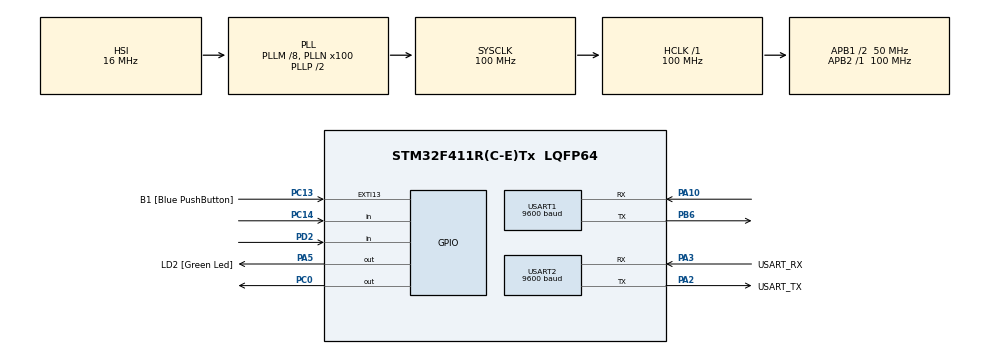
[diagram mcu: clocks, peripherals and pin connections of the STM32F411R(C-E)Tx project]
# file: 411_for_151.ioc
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Mcu.Family=STM32F4
Mcu.Name=STM32F411R(C-E)Tx
Mcu.Package=LQFP64
NVIC.EXTI15_10_IRQn=true\:0\:0\:false\:false\:true\:true\:true
NVIC.PriorityGroup=NVIC_PRIORITYGROUP_0
NVIC.USART1_IRQn=true\:0\:0\:false\:false\:true\:true\:true
PA10.Mode=Asynchronous
PA10.Signal=USART1_RX
PA13.GPIO_Label=TMS
PA13.Mode=Serial_Wire
PA13.Signal=SYS_JTMS-SWDIO
PA14.GPIO_Label=TCK
PA14.Mode=Serial_Wire
PA14.Signal=SYS_JTCK-SWCLK
PA2.GPIO_Label=USART_TX
PA2.GPIO_PuPd=GPIO_PULLUP
PA2.Mode=Asynchronous
PA2.Signal=USART2_TX
PA3.GPIO_Label=USART_RX
PA3.Mode=Asynchronous
PA3.Signal=USART2_RX
PA5.GPIO_Label=LD2 [Green Led]
PA5.Signal=GPIO_Output
PB3.GPIO_Label=SWO
PB3.Signal=SYS_JTDO-SWO
PB6.Mode=Asynchronous
PB6.Signal=USART1_TX
PC0.Signal=GPIO_Output
PC13-ANTI_TAMP.GPIO_Label=B1 [Blue PushButton]
PC13-ANTI_TAMP.GPIO_ModeDefaultEXTI=GPIO_MODE_IT_FALLING
PC13-ANTI_TAMP.GPIO_PuPd=GPIO_PULLDOWN
PC13-ANTI_TAMP.Signal=GPXTI13
PC14-OSC32_IN.GPIO_PuPd=GPIO_PULLDOWN
PC14-OSC32_IN.Signal=GPIO_Input
PC15-OSC32_OUT.Signal=RCC_OSC32_OUT
PD2.GPIO_PuPd=GPIO_PULLDOWN
PD2.Signal=GPIO_Input
PH0\ -\ OSC_IN.Signal=RCC_OSC_IN
PH1\ -\ OSC_OUT.Signal=RCC_OSC_OUT
ProjectManager.HeapSize=0x200
ProjectManager.StackSize=0x400
ProjectManager.TargetToolchain=STM32CubeIDE
RCC.48MHZClocksFreq_Value=50000000
RCC.AHBFreq_Value=100000000
RCC.APB1CLKDivider=RCC_HCLK_DIV2
RCC.APB1Freq_Value=50000000
RCC.APB1TimFreq_Value=100000000
RCC.APB2Freq_Value=100000000
RCC.APB2TimFreq_Value=100000000
RCC.CortexFreq_Value=100000000
RCC.FLatency-AdvancedSettings=FLASH_LATENCY_3
RCC.HCLKFreq_Value=100000000
RCC.HSE_VALUE=8000000
RCC.HSI_VALUE=16000000
RCC.LSE_VALUE=32768
RCC.PLLM=8
RCC.PLLN=100
RCC.SYSCLKFreq_VALUE=100000000
RCC.SYSCLKSource=RCC_SYSCLKSOURCE_PLLCLK
RCC.VCOOutputFreq_Value=200000000
USART1.BaudRate=9600
USART1.VirtualMode=VM_ASYNC
USART2.BaudRate=9600
USART2.VirtualMode=VM_ASYNC
board=NUCLEO-F411RE

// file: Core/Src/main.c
/* USER CODE BEGIN Header */
/**
 ******************************************************************************
 * @file           : main.c
 * @brief          : Main program body
 ******************************************************************************
 * @attention
 *
 * <h2><center>&copy; Copyright (c) 2020 STMicroelectronics.
 * All rights reserved.</center></h2>
 *
 * This software component is licensed by ST under BSD 3-Clause license,
 * the "License"; You may not use this file except in compliance with the
 * License. You may obtain a copy of the License at:
 *                        opensource.org/licenses/BSD-3-Clause
 *
 ******************************************************************************
 */
/* USER CODE END Header */

#include "main.h"

/* USER CODE BEGIN PD */
#define LED_PORT 		GPIOA         //GPIOC
#define LED_PIN 		GPIO_PIN_5    //GPIO_PIN_1

#define BTN_IRQ_PORT    GPIOC
#define BTN_IRQ_PIN     GPIO_PIN_13

#define BTN_USER_PORT	 GPIOD
#define BTN_USER_PIN 	 GPIO_PIN_2

#define PIN_GLOBAL_POWER_PORT  GPIOC
#define PIN_GLOBAL_POWER_PIN   GPIO_PIN_0

#define size_rx_uart  12

typedef struct
{
	uint32_t command;
	uint32_t length;
	int8_t* buff;
}tcp_packet_t;

typedef struct
{
	uint32_t hz;
	float current_mA;
	float power_W;
	float bus_voltage_V;
	float shunt_voltage_V;
	int16_t current_reg;
	uint16_t config;
	uint16_t calib;
	uint16_t die_id;
	uint8_t addr;
	uint8_t rsrvd_byte;
}INA_230;

#define SLAVE_SUCCESS_ANSWER        0
#define SLAVE_BAD_ANSWER           -1

#define CMD_ANSWER            1
#define CMD_GET_INAINFO       2
#define CMD_SHUTDOWN        3

/* USER CODE END PD */

UART_HandleTypeDef huart1;
UART_HandleTypeDef huart2;

void SystemClock_Config(void);
static void MX_GPIO_Init(void);
static void MX_USART2_UART_Init(void);
static void MX_USART1_UART_Init(void);

/* USER CODE BEGIN 0 */
void get_sleep();
void blink(uint8_t, uint32_t);
void HAL_UART_RxCpltCallback(UART_HandleTypeDef *);
void HAL_UART_TxCpltCallback(UART_HandleTypeDef *);
void send_message (tcp_packet_t*);
void get_data_ina();

int8_t flag_btn_irq = 0;
int8_t flag_btn_user_pressed = 0;
int8_t flag_get_UART=0;
int8_t flag_need_sleep = 1;

int8_t flag_uart_getBlink=0;

//int8_t MSV[sizeMSV]={10, };
//
//int8_t counters = 0;

float current_mA = 0.0f;
int16_t current_reg = 0;
uint32_t hz = 0;
uint8_t addr = 0;
float power_W = 0.0f;
float bus_voltage_V = 0.0f;
float shunt_voltage_V = 0.0f;
uint16_t config=0;
uint16_t calib=0;
uint16_t die_id=0;

uint8_t rx_uart[12]={0, };
//uint8_t tx_uart[10]={10, 11, 12, 13, 14, 15, 16, 17, 18, 19};

/* USER CODE END 0 */

int main(void)
{

	/* MCU Configuration--------------------------------------------------------*/

	/* Reset of all peripherals, Initializes the Flash interface and the Systick. */
	HAL_Init();

	/* Configure the system clock */
	SystemClock_Config();

	/* Initialize all configured peripherals */
	MX_GPIO_Init();
	MX_USART2_UART_Init();
	MX_USART1_UART_Init();

	/* USER CODE BEGIN 2 */

	//для отладки
	blink(6, 100);

	__HAL_UART_ENABLE_IT(&huart1, UART_IT_RXNE);

	/* USER CODE END 2 */

	/* Infinite loop */
	/* USER CODE BEGIN WHILE */
	while (1)
	{
		//отправляем в сон
		if(flag_need_sleep){
			get_sleep();
			//выход после режима
			flag_need_sleep=0;
		}

		//произошло короткое нажатие кнопки - вызывает прерывание
		//если произошло прерывание по кнопке BTN_IRQ
		if(flag_btn_irq){
			//необходимо проверить состояние кнопки на удержание BTN_USER
			//(BTN_USER и BTN_IRQ - физически это одна и та же кнопка, выводы дублируются на ещё один пин, так как на ней и режим прерывания и обычный )
			HAL_Delay(1900);
			if(HAL_GPIO_ReadPin(BTN_USER_PORT, BTN_USER_PIN) == GPIO_PIN_RESET){
				//кнопка удерживается какой то период времени
				flag_btn_user_pressed=1;
			}

			//кнопку удерживали, необходимо вкл прибор
			if(flag_btn_user_pressed){
				//включаем пин, отвечающий за глобальное управление питанием
				HAL_GPIO_WritePin(PIN_GLOBAL_POWER_PORT, PIN_GLOBAL_POWER_PIN, GPIO_PIN_SET);
				blink(6,50);  //для отладки
				//LED сигнализирующий, что питание подано
				//+++HAL_GPIO_WritePin(LED_PORT, LED_PIN, GPIO_PIN_SET);
				flag_btn_user_pressed = 0;

				//разрешаем работу по UART`у
				flag_get_UART=1;

				while(flag_get_UART){
					HAL_UART_Receive_IT (&huart1, (uint8_t*)rx_uart, size_rx_uart);

					//данный буффер собирается в обработчике прерываний
					int8_t action=rx_uart[0];

					switch (action)
					{
					//команда получения данных с INA
					case 0x02:
						blink(6,50);
						get_data_ina();
						break;
					//команда выключения
					case 0x03:
						blink(6, 1000);

						flag_get_UART = 0;
						flag_btn_user_pressed = 0;
						flag_btn_irq=0;
						flag_need_sleep=1;

						HAL_GPIO_WritePin(LED_PORT, LED_PIN, GPIO_PIN_SET); // для отладки - удалить

						//перед выключением питания необходим таймаут
						//для корректного выключения master`a
						// HAL_Delay(60000);
						HAL_Delay(6000);

						//пин управления питанием в LOW
						HAL_GPIO_WritePin(PIN_GLOBAL_POWER_PORT, PIN_GLOBAL_POWER_PIN, GPIO_PIN_RESET);
						//светодиод индикации питания выкл
						HAL_GPIO_WritePin(LED_PORT, LED_PIN, GPIO_PIN_RESET);
						break;

					default:
						//другие команды игнорируются
						break;
					}

					//обнуление массива rx_uart
					memset(&rx_uart[0], 0x00, 12);
				}

			}else{
				flag_need_sleep=1;
				flag_btn_irq=0;
			}

		}

		/* USER CODE END WHILE */

	}
}

void SystemClock_Config(void)
{
	RCC_OscInitTypeDef RCC_OscInitStruct = {0};
	RCC_ClkInitTypeDef RCC_ClkInitStruct = {0};

	/** Configure the main internal regulator output voltage
	 */
	__HAL_RCC_PWR_CLK_ENABLE();
	__HAL_PWR_VOLTAGESCALING_CONFIG(PWR_REGULATOR_VOLTAGE_SCALE1);
	/** Initializes the CPU, AHB and APB busses clocks
	 */
	RCC_OscInitStruct.OscillatorType = RCC_OSCILLATORTYPE_HSI;
	RCC_OscInitStruct.HSIState = RCC_HSI_ON;
	RCC_OscInitStruct.HSICalibrationValue = RCC_HSICALIBRATION_DEFAULT;
	RCC_OscInitStruct.PLL.PLLState = RCC_PLL_ON;
	RCC_OscInitStruct.PLL.PLLSource = RCC_PLLSOURCE_HSI;
	RCC_OscInitStruct.PLL.PLLM = 8;
	RCC_OscInitStruct.PLL.PLLN = 100;
	RCC_OscInitStruct.PLL.PLLP = RCC_PLLP_DIV2;
	RCC_OscInitStruct.PLL.PLLQ = 4;
	if (HAL_RCC_OscConfig(&RCC_OscInitStruct) != HAL_OK)
	{
		Error_Handler();
	}
	/** Initializes the CPU, AHB and APB busses clocks
	 */
	RCC_ClkInitStruct.ClockType = RCC_CLOCKTYPE_HCLK|RCC_CLOCKTYPE_SYSCLK
			|RCC_CLOCKTYPE_PCLK1|RCC_CLOCKTYPE_PCLK2;
	RCC_ClkInitStruct.SYSCLKSource = RCC_SYSCLKSOURCE_PLLCLK;
	RCC_ClkInitStruct.AHBCLKDivider = RCC_SYSCLK_DIV1;
	RCC_ClkInitStruct.APB1CLKDivider = RCC_HCLK_DIV2;
	RCC_ClkInitStruct.APB2CLKDivider = RCC_HCLK_DIV1;

	if (HAL_RCC_ClockConfig(&RCC_ClkInitStruct, FLASH_LATENCY_3) != HAL_OK)
	{
		Error_Handler();
	}
}

static void MX_USART1_UART_Init(void)
{

	huart1.Instance = USART1;
//	huart1.Init.BaudRate = 9600;
	huart1.Init.BaudRate = 115200;
	huart1.Init.WordLength = UART_WORDLENGTH_8B;
	huart1.Init.StopBits = UART_STOPBITS_1;
	huart1.Init.Parity = UART_PARITY_NONE;
	huart1.Init.Mode = UART_MODE_TX_RX;
	huart1.Init.HwFlowCtl = UART_HWCONTROL_NONE;
	huart1.Init.OverSampling = UART_OVERSAMPLING_16;
	if (HAL_UART_Init(&huart1) != HAL_OK)
	{
		Error_Handler();
	}

}

static void MX_USART2_UART_Init(void)
{

	huart2.Instance = USART2;
	huart2.Init.BaudRate = 9600;
	huart2.Init.WordLength = UART_WORDLENGTH_8B;
	huart2.Init.StopBits = UART_STOPBITS_1;
	huart2.Init.Parity = UART_PARITY_NONE;
	huart2.Init.Mode = UART_MODE_TX_RX;
	huart2.Init.HwFlowCtl = UART_HWCONTROL_NONE;
	huart2.Init.OverSampling = UART_OVERSAMPLING_16;
	if (HAL_UART_Init(&huart2) != HAL_OK)
	{
		Error_Handler();
	}

}

static void MX_GPIO_Init(void)
{
	GPIO_InitTypeDef GPIO_InitStruct = {0};

	/* GPIO Ports Clock Enable */
	__HAL_RCC_GPIOC_CLK_ENABLE();
	__HAL_RCC_GPIOH_CLK_ENABLE();
	__HAL_RCC_GPIOA_CLK_ENABLE();
	__HAL_RCC_GPIOD_CLK_ENABLE();
	__HAL_RCC_GPIOB_CLK_ENABLE();

	/*Configure GPIO pin Output Level */
	HAL_GPIO_WritePin(GPIOC, GPIO_PIN_0, GPIO_PIN_RESET);

	/*Configure GPIO pin Output Level */
	HAL_GPIO_WritePin(LD2_GPIO_Port, LD2_Pin, GPIO_PIN_RESET);

	/*Configure GPIO pin : B1_Pin */
	GPIO_InitStruct.Pin = B1_Pin;
	GPIO_InitStruct.Mode = GPIO_MODE_IT_FALLING;
	GPIO_InitStruct.Pull = GPIO_PULLDOWN;
	HAL_GPIO_Init(B1_GPIO_Port, &GPIO_InitStruct);

	/*Configure GPIO pin : PC14 */
	GPIO_InitStruct.Pin = GPIO_PIN_14;
	GPIO_InitStruct.Mode = GPIO_MODE_INPUT;
	GPIO_InitStruct.Pull = GPIO_PULLDOWN;
	HAL_GPIO_Init(GPIOC, &GPIO_InitStruct);

	/*Configure GPIO pin : PC0 */
	GPIO_InitStruct.Pin = GPIO_PIN_0;
	GPIO_InitStruct.Mode = GPIO_MODE_OUTPUT_PP;
	GPIO_InitStruct.Pull = GPIO_NOPULL;
	GPIO_InitStruct.Speed = GPIO_SPEED_FREQ_LOW;
	HAL_GPIO_Init(GPIOC, &GPIO_InitStruct);

	/*Configure GPIO pin : LD2_Pin */
	GPIO_InitStruct.Pin = LD2_Pin;
	GPIO_InitStruct.Mode = GPIO_MODE_OUTPUT_PP;
	GPIO_InitStruct.Pull = GPIO_NOPULL;
	GPIO_InitStruct.Speed = GPIO_SPEED_FREQ_LOW;
	HAL_GPIO_Init(LD2_GPIO_Port, &GPIO_InitStruct);

	/*Configure GPIO pin : PD2 */
	GPIO_InitStruct.Pin = GPIO_PIN_2;
	GPIO_InitStruct.Mode = GPIO_MODE_INPUT;
	GPIO_InitStruct.Pull = GPIO_PULLDOWN;
	HAL_GPIO_Init(GPIOD, &GPIO_InitStruct);

	/* EXTI interrupt init*/
	HAL_NVIC_SetPriority(EXTI15_10_IRQn, 0, 0);
	HAL_NVIC_EnableIRQ(EXTI15_10_IRQn);

}

/* USER CODE BEGIN 4 */
void HAL_GPIO_EXTI_Callback(uint16_t GPIO_Pin)
{
	if(GPIO_Pin== GPIO_PIN_13) {
		//HAL_GPIO_WritePin(GPIOC, GPIO_PIN_1, GPIO_PIN_SET);
		flag_btn_irq=1;
		flag_need_sleep = 0;
	}else{
		__NOP();
	}
	//	else if(GPIO_Pin== GPIO_PIN_2){
	//		HAL_GPIO_WritePin(GPIOC, GPIO_PIN_13, GPIO_PIN_SET);
	//	} else{
	//	__NOP();
	//	}
}

void get_sleep()
{
	HAL_SuspendTick();
	HAL_PWR_EnterSLEEPMode(PWR_MAINREGULATOR_ON, PWR_SLEEPENTRY_WFI);
	HAL_ResumeTick();
}

void blink(uint8_t counter_blink, uint32_t t_ms)
{
	for(int8_t i=0; i<counter_blink; ++i){
		HAL_GPIO_TogglePin(LED_PORT, LED_PIN); //Toggle LED
		HAL_Delay (t_ms);
	}
}

void HAL_UART_RxCpltCallback(UART_HandleTypeDef *huart)
{
	//	__NOP();
	if(huart == &huart1){
		flag_uart_getBlink =1;
	}
}

void HAL_UART_TxCpltCallback(UART_HandleTypeDef *huart)
{
	__NOP();
}

// void send_message (tcp_packet_t* ans_struct, RawSerial* _pc){
void send_message (tcp_packet_t* ans_struct){
	uint16_t len_send=sizeof(ans_struct->command)+sizeof(ans_struct->length) + ans_struct->length;
	// pc.putc(len_send);  //для отладки
	const uint8_t sizeTempMSV = 200;
	uint8_t TempMSV[sizeTempMSV];
	memset(&TempMSV[0], 0x00, 200);
	//собираем сообщение
	uint8_t pos=0;
	memcpy(&TempMSV[pos], &ans_struct->command, sizeof(ans_struct->command));
	 pos+=sizeof(ans_struct->command);
	memcpy(&TempMSV[pos], &ans_struct->length, sizeof(ans_struct->length));
	 pos+=sizeof(ans_struct->length);
	memcpy(&TempMSV[pos], &ans_struct->buff[0], ans_struct->length);

	//send message
	HAL_UART_Transmit_IT (&huart1, (uint8_t*)TempMSV, len_send-13);
//	HAL_UART_Transmit(&huart1, (uint8_t*)&TempMSV[0], len_send-13, 100);
}

void get_data_ina(){
	INA_230 ina;
	memset(&ina, 0x00, sizeof(INA_230));
	//================================================================================
	ina.hz = 10;                    //для отладки
	ina.current_mA = 10.7;          //для отладки
	ina.power_W = 11.8;
	ina.bus_voltage_V = 12.9;
	ina.shunt_voltage_V = 13.10;
	ina.current_reg = 14;
	ina.config = 15;
	ina.calib = 16;
	ina.die_id = 17;
	ina.addr = 18;

	//работаем с INA-----------------------------------------------
	// time_t seconds = time(NULL);
	// read the data
	// INA230 *ina230 =new  INA230(i2c);
	// delete ina230;

	// // void frequency(int hz);
	// current_mA = read_current();
	// current_reg = read_current_reg();
	// // float read_current_by_shuntvolt(void);
	// power_W = read_power();
	// bus_voltage_V = read_bus_voltage();
	// shunt_voltage_V = read_shunt_voltage();
	// config = read_config();
	// // uint16_t set_config(uint16_t cfg);
	// calib = read_calb(void);
	// die_id = read_die_id();
	// uint16_t set_calb(uint16_t clb);
	// uint8_t write_reg(uint8_t addr, uint8_t data);
	// uint8_t read_reg(uint8_t addr);

	// uint16_t read_mask_enable();

	// uint16_t read_alert_limit();

	// uint16_t set_mask_enable(uint16_t cfg);

	// uint16_t set_alert_limit(uint16_t cfg);

	// int16_t  get_shunt_res();
	//--------------------------------------------------------------------------
	//==========================================================================
	//собрать сообщение для отправки
	//==========================================================================
	const uint8_t sizeBuffer = 100;
	int8_t Buffer[sizeBuffer];
	//заслать ответ
	uint32_t res = SLAVE_SUCCESS_ANSWER;
	tcp_packet_t ans;
	uint8_t pos = 0;
	uint32_t packet_command = 2;
	memset(&ans, 0x00, sizeof(tcp_packet_t));
	memset(&Buffer[0], 0x00, sizeBuffer );
	ans.command = CMD_ANSWER;
	ans.length = sizeof(ans.command)+sizeof(res)
                		+sizeof(ina.hz)+sizeof(ina.current_mA)
						+sizeof(ina.power_W)+sizeof(ina.bus_voltage_V)+sizeof(ina.shunt_voltage_V)
						+sizeof(ina.current_reg)+sizeof(ina.config)+sizeof(ina.calib)
						+sizeof(ina.die_id)+sizeof(ina.addr);  //+всё в пакете
						// ans.length = sizeof(uint32_t)+sizeof(uint8_t)                        //sizeof(ans.command)+sizeof(res)
	//             +sizeof(uint32_t)+sizeof(float)                         //sizeof(ina.hz)+sizeof(ina.current_mA)
	//             +sizeof(float)+sizeof(float)+sizeof(float)              //sizeof(ina.power_W)+sizeof(ina.bus_voltage_V)+sizeof(ina.shunt_voltage_V)
	//             +sizeof(int16_t)+sizeof(uint16_t)+sizeof(uint16_t)      //sizeof(ina.current_reg)+sizeof(ina.config)+sizeof(ina.calib)
	//             +sizeof(uint16_t)+sizeof(uint8_t);  //+всё в пакете     //sizeof(ina.die_id)+sizeof(ina.addr);
	// ans.length = sizeof(ans.command)+sizeof(res) + sizeof(INA_230);  //+всё в пакете

	// pc.putc(ans.length);  //для отладки
	// memcpy(&Buffer[pos], (char*)&packet.command, sizeof(packet.command));
	memcpy(&Buffer[pos], (char*)&packet_command, sizeof(packet_command));
	// pos+= sizeof(packet.command);
	pos+= sizeof(packet_command);
	memcpy(&Buffer[pos], (char*)&res, sizeof(res));
	pos+=sizeof(res);
	//+всё в пакете
	memcpy(&Buffer[pos], (char*)&ina.hz, sizeof(ina.hz));
	pos+=sizeof(ina.hz);
	memcpy(&Buffer[pos], (char*)&ina.current_mA, sizeof(ina.current_mA));
	pos+=sizeof(ina.current_mA);
	memcpy(&Buffer[pos], (char*)&ina.power_W, sizeof(ina.power_W));
	pos+=sizeof(ina.power_W);
	memcpy(&Buffer[pos], (char*)&ina.bus_voltage_V, sizeof(ina.bus_voltage_V));
	pos+=sizeof(ina.bus_voltage_V);
	memcpy(&Buffer[pos], (char*)&ina.shunt_voltage_V, sizeof(ina.shunt_voltage_V));
	pos+=sizeof(ina.shunt_voltage_V);
	memcpy(&Buffer[pos], (char*)&ina.current_reg, sizeof(ina.current_reg));
	pos+=sizeof(ina.current_reg);
	memcpy(&Buffer[pos], (char*)&ina.config, sizeof(ina.config));
	pos+=sizeof(ina.config);
	memcpy(&Buffer[pos], (char*)&ina.calib, sizeof(ina.calib));
	pos+=sizeof(ina.calib);
	memcpy(&Buffer[pos], (char*)&ina.die_id, sizeof(ina.die_id));
	pos+=sizeof(ina.die_id);
	memcpy(&Buffer[pos], (char*)&ina.addr, sizeof(ina.addr));
	pos+=sizeof(ina.addr);

	pos=0;
	ans.buff = &Buffer[0];
	send_message(&ans);
}
/* USER CODE END 4 */

void Error_Handler(void)
{
}

/************************ (C) COPYRIGHT STMicroelectronics *****END OF FILE****/
